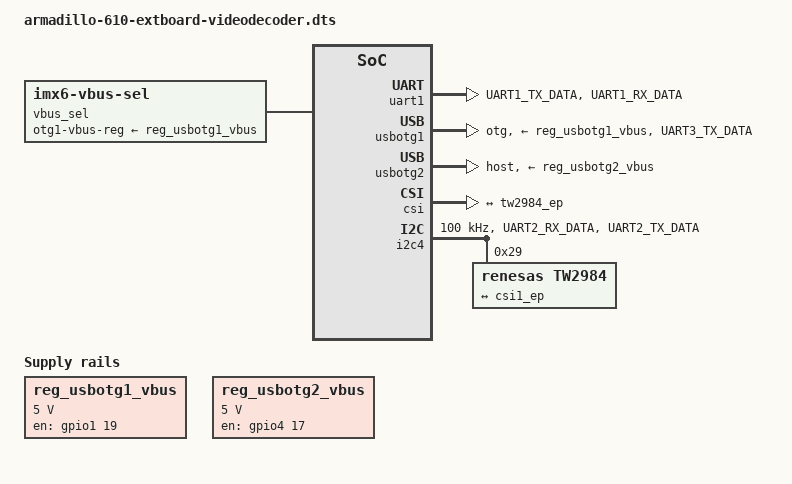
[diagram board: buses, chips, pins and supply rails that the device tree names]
/*
 * Copyright (C) 2022 ADVALY SYSTEM Inc. All Rights Reserved.
 *
 * SPDX-License-Identifier: (GPL-2.0 OR MIT)
 */
#include "armadillo-610.dtsi"

/ {
	chosen {
		stdout-path = &uart1;
	};

	regulators {
		compatible = "simple-bus";
		#address-cells = <1>;
		#size-cells = <0>;

		reg_usbotg1_vbus: regulator-usbotg1vbus {
			pinctrl-names = "default";
			pinctrl-0 = <&pinctrl_usbotg1_vbus>;
			compatible = "regulator-fixed";
			regulator-name = "USB_OTG1_VBUS";
			regulator-min-microvolt = <5000000>;
			regulator-max-microvolt = <5000000>;
			gpio = <&gpio1 19 GPIO_ACTIVE_HIGH>;
			enable-active-high;
		};

		reg_usbotg2_vbus: regulator-usbotg2vbus {
			pinctrl-names = "default";
			pinctrl-0 = <&pinctrl_usbotg2_vbus>;
			compatible = "regulator-fixed";
			regulator-name = "USB_OTG2_VBUS";
			regulator-min-microvolt = <5000000>;
			regulator-max-microvolt = <5000000>;
			gpio = <&gpio4 17 GPIO_ACTIVE_HIGH>;
			enable-active-high;
		};
	};

	vbus_sel: vbus-sel {
		compatible = "imx6-vbus-sel";
		otg1-vbus-reg-supply = <&reg_usbotg1_vbus>;

		/* Workarounds for ERR010661 */
		/* otg2-vbus-reg-supply = <&reg_usbotg2_vbus>; */
	};
};

&uart1 {
	pinctrl-names = "default";
	pinctrl-0 = <&pinctrl_uart1>;
	status = "okay";
};

&iomuxc {
	pinctrl-names = "default";

	pinctrl_uart1: uart1grp {
		fsl,pins = <
			MX6UL_PAD_UART1_TX_DATA__UART1_DCE_TX 0x00008
			MX6UL_PAD_UART1_RX_DATA__UART1_DCE_RX 0x1b0b1
		>;
	};

	pinctrl_usbotg1: usbotg1grp {
		fsl,pins = <
			MX6UL_PAD_UART3_TX_DATA__ANATOP_OTG1_ID 0x17059
		>;
	};

	pinctrl_usbotg1_vbus: usbotg1vbusgrp {
		fsl,pins = <
			MX6UL_PAD_UART1_RTS_B__GPIO1_IO19  0x00008
		>;
	};

	pinctrl_usbotg2_vbus: usbotg2vbusgrp {
		fsl,pins = <
			MX6UL_PAD_CSI_MCLK__GPIO4_IO17     0x00008
		>;
	};

	pinctrl_sd2_vmmc: sd2vmmcgrp {
		fsl,pins = <
			MX6UL_PAD_UART2_RTS_B__GPIO1_IO23  0x00008
		>;
	};

	pinctrl_i2c4: i2c4grp {
		fsl,pins = <
			MX6UL_PAD_UART2_RX_DATA__I2C4_SDA	0x4001b8b0 // CON2_88
			MX6UL_PAD_UART2_TX_DATA__I2C4_SCL	0x4001b8b0 // CON2_89
		>;
	};

	pinctrl_csi1: csi1grp {
		fsl,pins = <
			MX6UL_PAD_CSI_PIXCLK__CSI_PIXCLK	0x1b088
			MX6UL_PAD_CSI_VSYNC__CSI_VSYNC		0x1b088
			MX6UL_PAD_CSI_HSYNC__CSI_HSYNC		0x1b088
			MX6UL_PAD_CSI_DATA00__CSI_DATA02	0x1b088
			MX6UL_PAD_CSI_DATA01__CSI_DATA03	0x1b088
			MX6UL_PAD_CSI_DATA02__CSI_DATA04	0x1b088
			MX6UL_PAD_CSI_DATA03__CSI_DATA05	0x1b088
			MX6UL_PAD_CSI_DATA04__CSI_DATA06	0x1b088
			MX6UL_PAD_CSI_DATA05__CSI_DATA07	0x1b088
			MX6UL_PAD_CSI_DATA06__CSI_DATA08	0x1b088
			MX6UL_PAD_CSI_DATA07__CSI_DATA09	0x1b088
		>;
	};
};

&usbotg1 {
	pinctrl-names = "default";
	pinctrl-0 = <&pinctrl_usbotg1>;
	vbus-supply = <&reg_usbotg1_vbus>;
	dr_mode = "otg";
	disable-over-current;
	status = "okay";
};

&usbotg2 {
	vbus-supply = <&reg_usbotg2_vbus>;
	dr_mode = "host";
	disable-over-current;
	status = "okay";
};

&usbphy2 {
	fsl,tx-d-cal = <106>;
};

&csi {
	status = "okay";

	port {
		csi1_ep: endpoint {
			 remote-endpoint = <&tw2984_ep>;
		};
	};
};

&i2c4 {
	pinctrl-names = "default";
	pinctrl-0 = <&pinctrl_i2c4>;
	clock-frequency = <100000>;
	status = "okay";

	tw2984@29 {
		compatible = "renesas,tw2984";
		reg = <0x29>;
		pinctrl-names = "default";
		pinctrl-0 = <&pinctrl_csi1>;
		clocks = <&clks IMX6UL_CLK_CSI>;
		clock-names = "csi_mclk";
		status = "okay";

		port {
			tw2984_ep: endpoint {
				remote-endpoint = <&csi1_ep>;
			};
		};
	};
};
